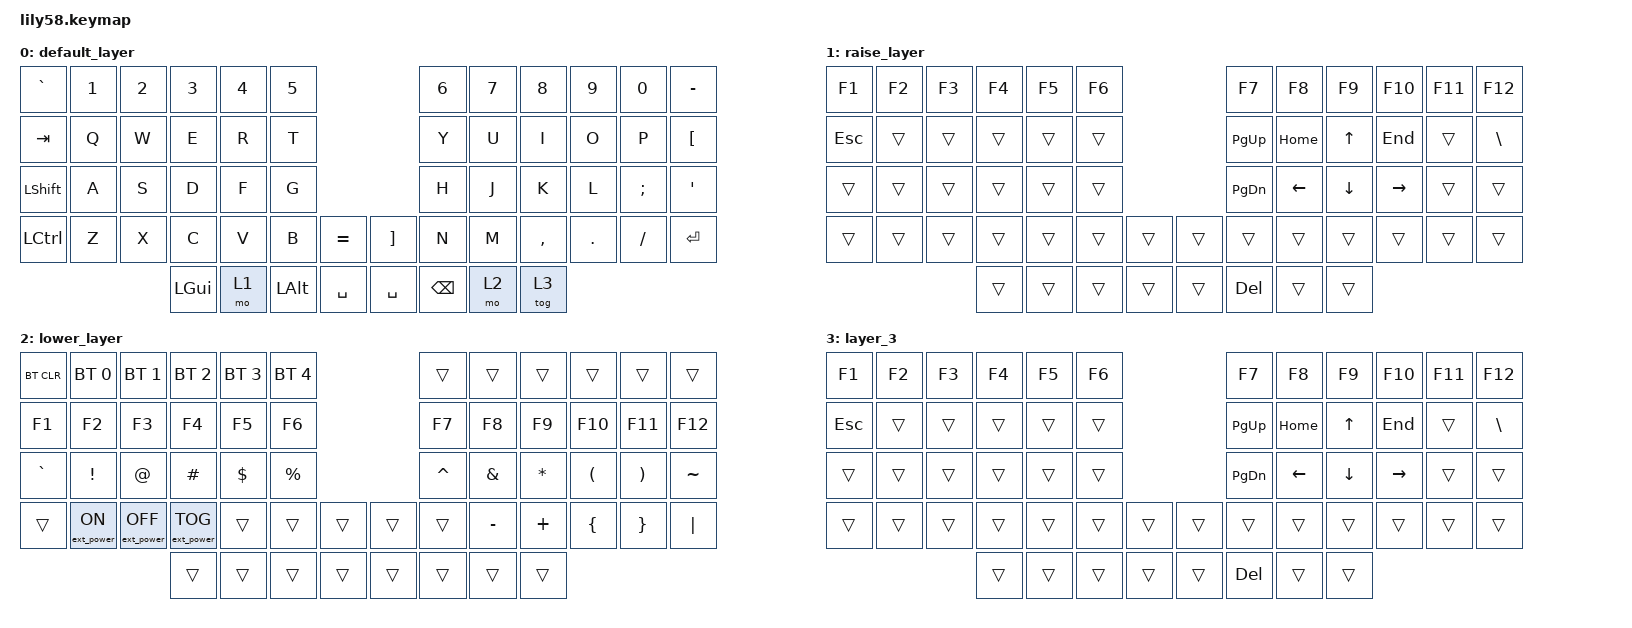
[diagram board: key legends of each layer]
/*
 * Copyright (c) 2020 The ZMK Contributors
 *
 * SPDX-License-Identifier: MIT
 */

#include <behaviors.dtsi>
#include <dt-bindings/zmk/bt.h>
#include <dt-bindings/zmk/ext_power.h>
#include <dt-bindings/zmk/keys.h>

/ {
    keymap {
        compatible = "zmk,keymap";

        default_layer {
            // ------------------------------------------------------------------------------------------------------------
            // |  ESC  |  1  |  2  |  3   |  4   |  5   |                   |  6   |  7    |  8    |  9   |   0   |   `   |
            // |  TAB  |  Q  |  W  |  E   |  R   |  T   |                   |  Y   |  U    |  I    |  O   |   P   |   -   |
            // |  CTRL |  A  |  S  |  D   |  F   |  G   |                   |  H   |  J    |  K    |  L   |   ;   |   '   |
            // | SHIFT |  Z  |  X  |  C   |  V   |  B   |   "["  |  |  "]"  |  N   |  M    |  ,    |  .   |   /   | SHIFT |
            //                     | ALT  | GUI  | LOWER|  SPACE |  | ENTER | RAISE| BSPC  | GUI   |

            bindings = <
&kp GRAVE  &kp N1  &kp N2  &kp N3    &kp N4  &kp N5                            &kp N6    &kp N7  &kp N8     &kp N9   &kp N0    &kp MINUS
&kp TAB    &kp Q   &kp W   &kp E     &kp R   &kp T                             &kp Y     &kp U   &kp I      &kp O    &kp P     &kp LBKT
&kp LSHFT  &kp A   &kp S   &kp D     &kp F   &kp G                             &kp H     &kp J   &kp K      &kp L    &kp SEMI  &kp SQT
&kp LCTRL  &kp Z   &kp X   &kp C     &kp V   &kp B     &kp EQUAL    &kp RBKT   &kp N     &kp M   &kp COMMA  &kp DOT  &kp FSLH  &kp RET
                           &kp LGUI  &mo 1   &kp LALT  &kp SPACE    &kp SPACE  &kp BSPC  &mo 2   &tog 3
            >;
        };

        raise_layer {
            // ------------------------------------------------------------------------------------------------------------
            // |       |     |     |      |      |      |                   |      |       |       |      |       |       |
            // |   `   |  1  |  2  |  3   |  4   |  5   |                   |  6   |   7   |   8   |  9   |   0   |       |
            // |   F1  |  F2 |  F3 |  F4  |  F5  |  F6  |                   |      |   <-  |   v   |  ^   |  ->   |       |
            // |   F7  |  F8 |  F9 |  F10 |  F11 |  F12 |        |  |       |  +   |   -   |   =   |  [   |   ]   |   \   |
            //                     |      |      |      |        |  |       |      |       |       |

            bindings = <
&kp F1      &kp F2  &kp F3  &kp F4  &kp F5  &kp F6                    &kp F7      &kp F8    &kp F9        &kp F10          &kp F11  &kp F12
&kp ESCAPE  &trans  &trans  &trans  &trans  &trans                    &kp PG_UP   &kp HOME  &kp UP_ARROW  &kp END          &trans   &kp BACKSLASH
&trans      &trans  &trans  &trans  &trans  &trans                    &kp PG_DN   &kp LEFT  &kp DOWN      &kp RIGHT_ARROW  &trans   &trans
&trans      &trans  &trans  &trans  &trans  &trans  &trans    &trans  &trans      &trans    &trans        &trans           &trans   &trans
                            &trans  &trans  &trans  &trans    &trans  &kp DELETE  &trans    &trans
            >;
        };

        lower_layer {
            // ------------------------------------------------------------------------------------------------------------
            // | BTCLR | BT1 | BT2 |  BT3 |  BT4 |  BT5 |                   |      |       |       |      |       |       |
            // |  F1   |  F2 |  F3 |  F4  |  F5  |  F6  |                   |  F7  |  F8   |  F9   |  F10 |  F11  |  F12  |
            // |   `   |  !  |  @  |  #   |  $   |  %   |                   |  ^   |  &    |  *    |  (   |   )   |   ~   |
            // |       |     |     |      |      |      |        |  |       |      |  _    |  +    |  {   |   }   |  "|"  |
            //                     |      |      |      |        |  |       |      |       |       |

            bindings = <
&bt BT_CLR  &bt BT_SEL 0      &bt BT_SEL 1       &bt BT_SEL 2       &bt BT_SEL 3  &bt BT_SEL 4                    &trans     &trans     &trans     &trans    &trans    &trans
&kp F1      &kp F2            &kp F3             &kp F4             &kp F5        &kp F6                          &kp F7     &kp F8     &kp F9     &kp F10   &kp F11   &kp F12
&kp GRAVE   &kp EXCL          &kp AT             &kp HASH           &kp DOLLAR    &kp PRCNT                       &kp CARET  &kp AMPS   &kp ASTRK  &kp LPAR  &kp RPAR  &kp TILDE
&trans      &ext_power EP_ON  &ext_power EP_OFF  &ext_power EP_TOG  &trans        &trans        &trans    &trans  &trans     &kp MINUS  &kp PLUS   &kp LBRC  &kp RBRC  &kp PIPE
                                                 &trans             &trans        &trans        &trans    &trans  &trans     &trans     &trans
            >;
        };

        layer_3 {
            bindings = <
&kp F1      &kp F2  &kp F3  &kp F4  &kp F5  &kp F6                    &kp F7      &kp F8    &kp F9    &kp F10    &kp F11  &kp F12
&kp ESCAPE  &trans  &trans  &trans  &trans  &trans                    &kp PG_UP   &kp HOME  &kp UP    &kp END    &trans   &kp BSLH
&trans      &trans  &trans  &trans  &trans  &trans                    &kp PG_DN   &kp LEFT  &kp DOWN  &kp RIGHT  &trans   &trans
&trans      &trans  &trans  &trans  &trans  &trans  &trans    &trans  &trans      &trans    &trans    &trans     &trans   &trans
                            &trans  &trans  &trans  &trans    &trans  &kp DELETE  &trans    &trans
            >;
        };
    };
};
